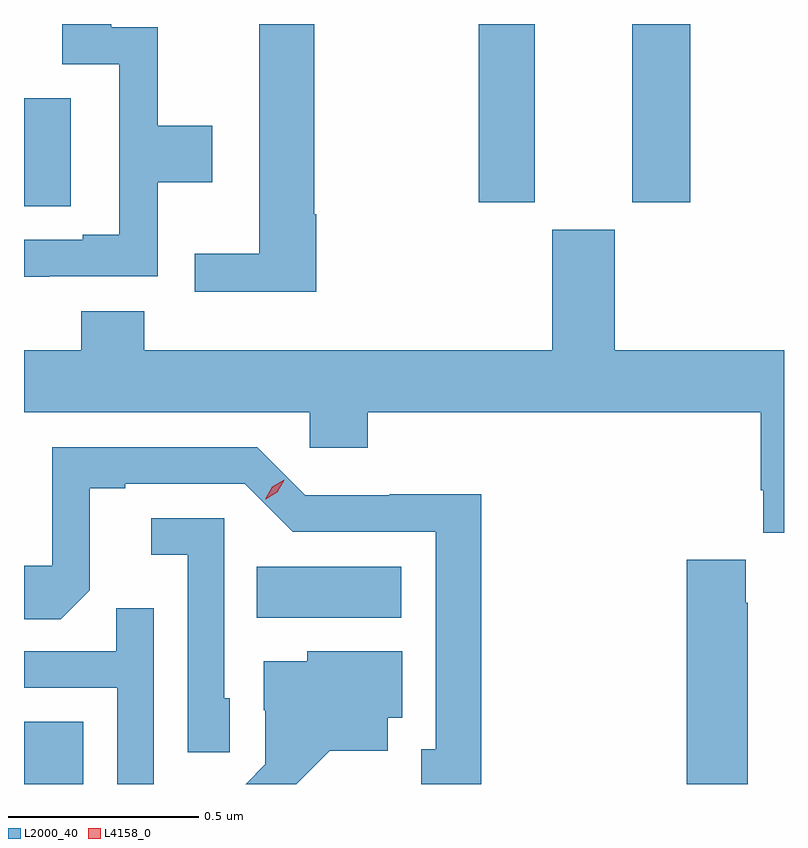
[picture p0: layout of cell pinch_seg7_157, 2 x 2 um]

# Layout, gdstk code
import gdstk
lib = gdstk.Library(unit=1e-6, precision=1e-09)
def R(c, l, rs):  # rectangles x0, y0, x1, y1
    for r in rs: c.add(gdstk.rectangle(r[:2], r[2:], *l))
def P(c, l, *ps):  # polygons
    for p in ps: c.add(gdstk.Polygon(p, *l))
L2000_40 = (2000, 40)
L4158_0 = (4158, 0)

pinch_seg7_157 = lib.new_cell('pinch_seg7_157')
R(pinch_seg7_157, L2000_40, [(1037.632,999.638,1037.788,999.802), (1038.244,1000.076,1038.625,1000.21), (1037.632,1001.159,1037.755,1001.443), (1038.829,1001.169,1038.976,1001.638), (1039.232,1001.169,1039.385,1001.638)])
P(pinch_seg7_157, L2000_40, [(1038.401,1001.138),(1038.396,1001.138),(1038.396,1001.638),(1038.251,1001.638),(1038.251,1001.033),(1038.081,1001.033),(1038.081,1000.934),(1038.401,1000.934)],
  [(1037.699,1000.974),(1037.984,1000.974),(1037.984,1001.222),(1038.127,1001.222),(1038.127,1001.37),(1037.984,1001.37),(1037.984,1001.63),(1037.861,1001.63),(1037.861,1001.638),(1037.733,1001.638),(1037.733,1001.532),(1037.883,1001.532),(1037.883,1001.083),(1037.786,1001.083),(1037.786,1001.07),(1037.632,1001.07),(1037.632,1000.973),(1037.699,1000.973)],
  [(1039.632,1000.78),(1039.186,1000.78),(1039.186,1001.097),(1039.022,1001.097),(1039.022,1000.78),(1037.948,1000.78),(1037.948,1000.882),(1037.783,1000.882),(1037.783,1000.78),(1037.632,1000.78),(1037.632,1000.616),(1038.384,1000.616),(1038.384,1000.523),(1038.536,1000.523),(1038.536,1000.616),(1039.571,1000.616),(1039.571,1000.411),(1039.577,1000.411),(1039.577,1000.299),(1039.632,1000.299)],
  [(1038.835,1000.4),(1038.594,1000.4),(1038.594,1000.398),(1038.372,1000.398),(1038.246,1000.524),(1037.706,1000.524),(1037.706,1000.212),(1037.632,1000.212),(1037.632,1000.072),(1037.729,1000.072),(1037.805,1000.148),(1037.805,1000.416),(1037.899,1000.416),(1037.899,1000.428),(1038.213,1000.428),(1038.339,1000.302),(1038.716,1000.302),(1038.716,999.729),(1038.677,999.729),(1038.677,999.638),(1038.835,999.638)],
  [(1038.174,999.864),(1038.159,999.864),(1038.159,1000.338),(1037.967,1000.338),(1037.967,1000.241),(1038.063,1000.241),(1038.063,999.721),(1038.174,999.721)],
  [(1039.536,1000.115),(1039.531,1000.115),(1039.531,1000.228),(1039.376,1000.228),(1039.376,999.638),(1039.536,999.638)],
  [(1037.973,1000.1),(1037.875,1000.1),(1037.875,999.987),(1037.632,999.987),(1037.632,999.891),(1037.877,999.891),(1037.877,999.638),(1037.973,999.638)],
  [(1038.437,999.725),(1038.589,999.725),(1038.589,999.812),(1038.628,999.812),(1038.628,999.988),(1038.378,999.988),(1038.378,999.961),(1038.263,999.961),(1038.263,999.832),(1038.267,999.832),(1038.267,999.69),(1038.215,999.638),(1038.349,999.638)])
P(pinch_seg7_157, L4158_0, [(1038.267,1000.387),(1038.267,1000.387),(1038.285,1000.42),(1038.317,1000.439),(1038.317,1000.439),(1038.317,1000.438),(1038.299,1000.406),(1038.268,1000.387)])

lib.write_gds('pinch_seg7_157.gds')
